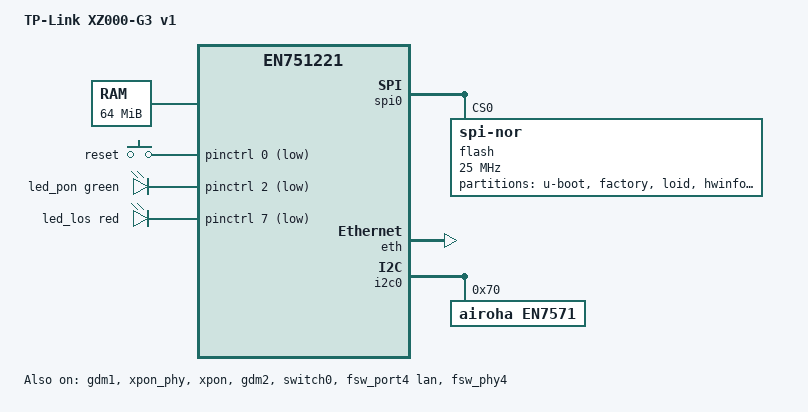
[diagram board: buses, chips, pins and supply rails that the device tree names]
// SPDX-License-Identifier: (GPL-2.0-only OR BSD-2-Clause)
/dts-v1/;

#include <dt-bindings/gpio/gpio.h>
#include <dt-bindings/input/input.h>
#include <dt-bindings/leds/common.h>

#include "en751221.dtsi"

/ {
	model = "TP-Link XZ000-G3 v1";
	compatible = "tplink,xz000-g3-v1", "econet,en751221";

	memory@0 {
		device_type = "memory";
		reg = <0x00000000 0x04000000>;
	};

	chosen {
		stdout-path = "/serial@1fbf0000:115200";
		linux,usable-memory-range = <0x00020000 0x03fe0000>;
	};

	keys {
		compatible = "gpio-keys";

		reset {
			label = "reset";
			linux,code = <KEY_RESTART>;
			gpios = <&pinctrl 0 GPIO_ACTIVE_LOW>;
			debounce-interval = <60>;
		};
	};

	leds {
		compatible = "gpio-leds";

		led_pon: led-pon {
			color = <LED_COLOR_ID_GREEN>;
			function = LED_FUNCTION_STATUS;
			function-enumerator = <2>;
			gpios = <&pinctrl 2 GPIO_ACTIVE_LOW>;
		};

		led_los: led-los {
			color = <LED_COLOR_ID_RED>;
			function = LED_FUNCTION_FAULT;
			function-enumerator = <7>;
			gpios = <&pinctrl 7 GPIO_ACTIVE_LOW>;
		};
	};
};

/* SPI-NOR instead of the dtsi's SPI-NAND */
/delete-node/ &nand;

&spi0 {
	flash@0 {
		compatible = "jedec,spi-nor";
		reg = <0>;
		spi-max-frequency = <25000000>;
		/* 1-1-2 dual output read only needs DO and DI; quad is untested on v1 */
		spi-tx-bus-width = <1>;
		spi-rx-bus-width = <2>;

		partitions {
			compatible = "fixed-partitions";
			#address-cells = <1>;
			#size-cells = <1>;

			/* Early boot stages and LZMA U-Boot, over stock tcboot/romfile/bootflag */
			partition@0 {
				label = "u-boot";
				reg = <0x000000 0x040000>;
				read-only;
			};

			/* Stock factoryinfo, left in place: MAC at 0x0, EN7571 BOB at 0x16 */
			partition@40000 {
				label = "factory";
				reg = <0x040000 0x010000>;
				read-only;

				nvmem-layout {
					compatible = "fixed-layout";
					#address-cells = <1>;
					#size-cells = <1>;

					macaddr_factory_0: macaddr@0 {
						compatible = "mac-base";
						reg = <0x0 0x6>;
						#nvmem-cell-cells = <1>;
					};

					/* Big endian; unrelated data follows, keep it 0xa0 long */
					en7571_bob: calibration@16 {
						reg = <0x16 0xa0>;
					};
				};
			};

			/* Stock loid (GPON identity), left in place */
			partition@50000 {
				label = "loid";
				reg = <0x050000 0x010000>;
				read-only;

				nvmem-layout {
					compatible = "fixed-layout";
					#address-cells = <1>;
					#size-cells = <1>;

					gpon_serial: serial@31 {
						reg = <0x31 0x10>;
					};

					gpon_password: password@48 {
						reg = <0x48 0x15>;
					};
				};
			};

			/* Stock hwinfo: TP-Link product ID and board data */
			partition@60000 {
				label = "hwinfo";
				reg = <0x060000 0x010000>;
				read-only;
			};

			/*
			 * Stock config, iot, kernelA/rootfsA, kernelB/rootfsB and
			 * "other" merged into one A-only firmware partition.
			 */
			partition@70000 {
				compatible = "denx,fit";
				label = "firmware";
				reg = <0x070000 0xf90000>;
			};
		};
	};
};

&eth {
	status = "okay";
};

&gdm1 {
	status = "okay";
	nvmem-cells = <&macaddr_factory_0 0>;
	nvmem-cell-names = "mac-address";
};

&i2c0 {
	status = "okay";

	en7571: lddla@70 {
		compatible = "airoha,en7571";
		reg = <0x70>;

		nvmem-cells = <&en7571_bob>;
		nvmem-cell-names = "calibration";

		#optical-frontend-cells = <0>;
	};
};

&xpon_phy {
	status = "okay";
};

&xpon {
	status = "okay";

	/* Unprovisioned: stock default serial "TPLG" + MAC[2..5] */
	nvmem-cells = <&gpon_serial>, <&gpon_password>;
	nvmem-cell-names = "gpon-serial-number", "gpon-password";
	airoha,gpon-serial-from-mac;
	omci-vendor-id = "TPLG";

	optical-frontends = <&en7571>;
	optical-frontend-names = "pon";

	leds = <&led_pon>, <&led_los>;
	led-names = "pon", "los";
};

&gdm2 {
	status = "okay";
	phy-mode = "internal";
	airoha,xpon-managed;
	openwrt,netdev-name = "pon0";
	nvmem-cells = <&macaddr_factory_0 0>;
	nvmem-cell-names = "mac-address";
};

&switch0 {
	status = "okay";
};

&fsw_port4 {
	label = "lan";
	status = "okay";
};

&fsw_phy4 {
	status = "okay";
};

&gport5 {
	status = "disabled";
};
